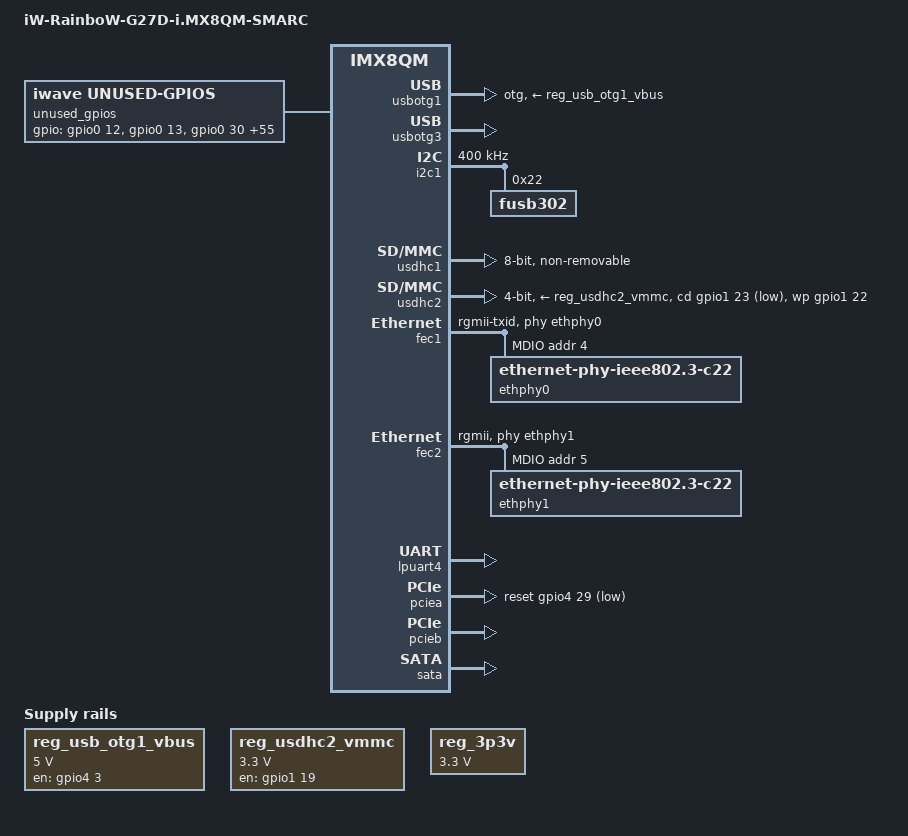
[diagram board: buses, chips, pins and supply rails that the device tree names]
// SPDX-License-Identifier: GPL-2.0+
/*
 * Copyright (C) 2021 iWave System Technologies Pvt Ltd.
 * Copyright 2021 
 *
 * This program is free software; you can redistribute it and/or
 * modify it under the terms of the GNU General Public License
 * as published by the Free Software Foundation; either version 2
 * of the License, or (at your option) any later version.
 *
 * This program is distributed in the hope that it will be useful,
 * but WITHOUT ANY WARRANTY; without even the implied warranty of
 * MERCHANTABILITY or FITNESS FOR A PARTICULAR PURPOSE.  See the
 * GNU General Public License for more details.
 */

/dts-v1/;

#include "fsl-imx8qm.dtsi"

/ {
	model = "iW-RainboW-G27D-i.MX8QM-SMARC";
	compatible = "fsl,imx8qm-iwg27m", "fsl,imx8qm";

	chosen {
		bootargs = "console=ttyLP4,115200 earlycon";
		stdout-path = &lpuart4;
	};

	unused_gpios: unused_gpios { /* GPIO: Setting unused GPIOs as input pins */
		compatible = "iwave,unused-gpios";
		pinctrl-names = "default";
		pinctrl-0 = <&pinctrl_unused_gpio>;
		status= "okay";
	};

	regulators {
		compatible = "simple-bus";
		#address-cells = <1>;
		#size-cells = <0>;

		reg_usb_otg1_vbus: regulator@0 { /* USB: USB OTG 5V VBUS Regulator */
			compatible = "regulator-fixed";
			reg = <0>;
			regulator-name = "VBUS_USBOTG_5V";
			regulator-min-microvolt = <5000000>;
			regulator-max-microvolt = <5000000>;
			gpio = <&gpio4 3 GPIO_ACTIVE_HIGH>;
			enable-active-high;
		};

		reg_usdhc2_vmmc: usdhc2_vmmc { /* USDHC2: 3.3V VDD Regulator Enable */
			compatible = "regulator-fixed";
			regulator-name = "VDD_USDHC2_3P3V";
			regulator-min-microvolt = <3300000>;
			regulator-max-microvolt = <3300000>;
			gpio = <&gpio1 19 GPIO_ACTIVE_HIGH>;
			off-on-delay-us = <4800>;
			enable-active-high;
		};

		reg_3p3v: 3p3v { /* Regulator: Fixed 3.3V Regulator */
			compatible = "regulator-fixed";
			regulator-name = "3P3V";
			regulator-min-microvolt = <3300000>;
			regulator-max-microvolt = <3300000>;
		};
	};
};

&iomuxc {

	imx8qm-iwg27m {

		pinctrl_fec1: fec1grp { /* Ethernet0: IOMUX Pin Configuration */
			fsl,pins = <
				SC_P_COMP_CTL_GPIO_1V8_3V3_ENET_ENETB_PAD		0x000014a0
				SC_P_ENET0_MDC_CONN_ENET0_MDC				0x06000020
				SC_P_ENET0_MDIO_CONN_ENET0_MDIO				0x06000020
				SC_P_ENET0_RGMII_TX_CTL_CONN_ENET0_RGMII_TX_CTL		0x00000061
				SC_P_ENET0_RGMII_TXC_CONN_ENET0_RGMII_TXC		0x00000061
				SC_P_ENET0_RGMII_TXD0_CONN_ENET0_RGMII_TXD0		0x00000061
				SC_P_ENET0_RGMII_TXD1_CONN_ENET0_RGMII_TXD1		0x00000061
				SC_P_ENET0_RGMII_TXD2_CONN_ENET0_RGMII_TXD2		0x00000061
				SC_P_ENET0_RGMII_TXD3_CONN_ENET0_RGMII_TXD3		0x00000061
				SC_P_ENET0_RGMII_RXC_CONN_ENET0_RGMII_RXC		0x00000061
				SC_P_ENET0_RGMII_RX_CTL_CONN_ENET0_RGMII_RX_CTL		0x00000061
				SC_P_ENET0_RGMII_RXD0_CONN_ENET0_RGMII_RXD0		0x00000061
				SC_P_ENET0_RGMII_RXD1_CONN_ENET0_RGMII_RXD1		0x00000061
				SC_P_ENET0_RGMII_RXD2_CONN_ENET0_RGMII_RXD2		0x00000061
				SC_P_ENET0_RGMII_RXD3_CONN_ENET0_RGMII_RXD3		0x00000061
				SC_P_PCIE_CTRL1_WAKE_B_LSIO_GPIO4_IO31			0x00000021 /* Ethernet0 Reset */
				SC_P_PCIE_CTRL1_CLKREQ_B_LSIO_GPIO4_IO30		0x00000021 /* Ethernet0 Wake on LAN */
				SC_P_PCIE_CTRL0_CLKREQ_B_LSIO_GPIO4_IO27		0x00000021 /* Ethernet0 Interrupt */             
			>;
		};

		pinctrl_fec2: fec2grp { /* Ethernet1: IOMUX Pin Configuration */
			fsl,pins = <
				SC_P_COMP_CTL_GPIO_1V8_3V3_ENET_ENETA_PAD		0x000014a0
				SC_P_ENET1_MDC_CONN_ENET1_MDC				0x06000020
				SC_P_ENET1_MDIO_CONN_ENET1_MDIO				0x06000020
				SC_P_ENET1_RGMII_TX_CTL_CONN_ENET1_RGMII_TX_CTL		0x00000060
				SC_P_ENET1_RGMII_TXC_CONN_ENET1_RGMII_TXC		0x00000060
				SC_P_ENET1_RGMII_TXD0_CONN_ENET1_RGMII_TXD0		0x00000060
				SC_P_ENET1_RGMII_TXD1_CONN_ENET1_RGMII_TXD1		0x00000060
				SC_P_ENET1_RGMII_TXD2_CONN_ENET1_RGMII_TXD2		0x00000060
				SC_P_ENET1_RGMII_TXD3_CONN_ENET1_RGMII_TXD3		0x00000060
				SC_P_ENET1_RGMII_RXC_CONN_ENET1_RGMII_RXC		0x00000060
				SC_P_ENET1_RGMII_RX_CTL_CONN_ENET1_RGMII_RX_CTL		0x00000060
				SC_P_ENET1_RGMII_RXD0_CONN_ENET1_RGMII_RXD0		0x00000060
				SC_P_ENET1_RGMII_RXD1_CONN_ENET1_RGMII_RXD1		0x00000060
				SC_P_ENET1_RGMII_RXD2_CONN_ENET1_RGMII_RXD2		0x00000060
				SC_P_ENET1_RGMII_RXD3_CONN_ENET1_RGMII_RXD3		0x00000060
				SC_P_MIPI_DSI1_I2C0_SCL_LSIO_GPIO1_IO20			0x00000021 /* Ethernet1 Reset */
				SC_P_MIPI_DSI0_I2C0_SCL_LSIO_GPIO1_IO16			0x00000021 /* Ethernet1 Wake on LAN */
				SC_P_MIPI_DSI0_I2C0_SDA_LSIO_GPIO1_IO17			0x00000021 /* Ethernet1 Interrupt */
			>;
		};

		pinctrl_flexspi0: flexspi0grp { /* FLEXSPI0: MT35XU512ABA Octa-SPI IOMUX Pin Configuration */
			fsl,pins = <
				SC_P_QSPI0A_DATA0_LSIO_QSPI0A_DATA0			0x06000021
				SC_P_QSPI0A_DATA1_LSIO_QSPI0A_DATA1			0x06000021
				SC_P_QSPI0A_DATA2_LSIO_QSPI0A_DATA2			0x06000021
				SC_P_QSPI0A_DATA3_LSIO_QSPI0A_DATA3			0x06000021
				SC_P_QSPI0A_DQS_LSIO_QSPI0A_DQS				0x06000021
				SC_P_QSPI0A_SS0_B_LSIO_QSPI0A_SS0_B			0x06000021
				SC_P_QSPI0A_SCLK_LSIO_QSPI0A_SCLK			0x06000021
				SC_P_QSPI0B_SCLK_LSIO_QSPI0B_SCLK			0x06000021
				SC_P_QSPI0B_DATA0_LSIO_QSPI0B_DATA0			0x06000021
				SC_P_QSPI0B_DATA1_LSIO_QSPI0B_DATA1			0x06000021
				SC_P_QSPI0B_DATA2_LSIO_QSPI0B_DATA2			0x06000021
				SC_P_QSPI0B_DATA3_LSIO_QSPI0B_DATA3			0x06000021
				SC_P_QSPI0B_SS0_B_LSIO_QSPI0B_SS0_B			0x06000021
			>;
		};

		pinctrl_pciea: pcieagrp{ /* PCIE: IOMUX Pin Configuration */
			fsl,pins = <
				SC_P_SIM0_POWER_EN_LSIO_GPIO0_IO04			0x06000021 /* PCIE W_DISABLE GPIO */
				SC_P_PCIE_CTRL0_WAKE_B_LSIO_GPIO4_IO28			0x06000021 /* PCIE Wake GPIO */
				SC_P_PCIE_CTRL0_PERST_B_LSIO_GPIO4_IO29			0x06000021 /* PCIE Reset GPIO */
			>;
		};

		pinctrl_usbotg1: usbotg1grp { /* USB: USB OTG IOMUX Pin Configuration */
			fsl,pins = <
				SC_P_USB_SS3_TC0_LSIO_GPIO4_IO03			0x06000021 /* USB OTG Power */
			>;
		};

		pinctrl_usbotg3: usbotg3grp { /* USB: USB Hub IOMUX Pin COnfiguration */
			fsl,pins = <
				SC_P_MIPI_DSI1_I2C0_SDA_LSIO_GPIO1_IO21			0x00000021 /* USB Hub Reset */
			>;
		};

		pinctrl_lpi2c1: lpi2c1grp { /* I2C1: IOMUX Pin Configuration */
			fsl,pins = <
				SC_P_GPT0_CLK_DMA_I2C1_SCL				0x06000021
				SC_P_GPT0_CAPTURE_DMA_I2C1_SDA				0x06000021
			>;
		};

		pinctrl_usdhc1: usdhc1grp { /* EMMC: IOMUX Pin Configuration */
			fsl,pins = <
				SC_P_EMMC0_CLK_CONN_EMMC0_CLK				0x06000041
				SC_P_EMMC0_CMD_CONN_EMMC0_CMD				0x00000021
				SC_P_EMMC0_DATA0_CONN_EMMC0_DATA0			0x00000021
				SC_P_EMMC0_DATA1_CONN_EMMC0_DATA1			0x00000021
				SC_P_EMMC0_DATA2_CONN_EMMC0_DATA2			0x00000021
				SC_P_EMMC0_DATA3_CONN_EMMC0_DATA3			0x00000021
				SC_P_EMMC0_DATA4_CONN_EMMC0_DATA4			0x00000021
				SC_P_EMMC0_DATA5_CONN_EMMC0_DATA5			0x00000021
				SC_P_EMMC0_DATA6_CONN_EMMC0_DATA6			0x00000021
				SC_P_EMMC0_DATA7_CONN_EMMC0_DATA7			0x00000021
				SC_P_EMMC0_STROBE_CONN_EMMC0_STROBE			0x00000041
				SC_P_EMMC0_RESET_B_CONN_EMMC0_RESET_B			0x00000021
			>;
		};

		pinctrl_usdhc2_gpio: usdhc2grpgpio { /* USDHC2: IOMUX Pin Configuration */
			fsl,pins = <
				SC_P_MIPI_DSI1_GPIO0_00_LSIO_GPIO1_IO22			0x00000021 /* Standard SD Write Protect */
				SC_P_MIPI_DSI1_GPIO0_01_LSIO_GPIO1_IO23			0x00000021 /* Standard SD Card Detect */
				SC_P_MIPI_DSI0_GPIO0_01_LSIO_GPIO1_IO19			0x00000021 /* Standard SD Power Enable */
			>;
		};

		pinctrl_usdhc2: usdhc2grp {
			fsl,pins = <
				SC_P_USDHC1_CLK_CONN_USDHC1_CLK				0x06000040
				SC_P_USDHC1_CMD_CONN_USDHC1_CMD				0x00000021
				SC_P_USDHC1_DATA0_CONN_USDHC1_DATA0			0x00000021
				SC_P_USDHC1_DATA1_CONN_USDHC1_DATA1			0x00000021
				SC_P_USDHC1_DATA2_CONN_USDHC1_DATA2			0x00000021
				SC_P_USDHC1_DATA3_CONN_USDHC1_DATA3			0x00000021
				SC_P_USDHC1_VSELECT_CONN_USDHC1_VSELECT			0x00000021
			>;
		};

		pinctrl_usdhc3: usdhc3grp { /* USDHC3: IOMUX Pin Configuration */
			fsl,pins = <
				SC_P_USDHC2_CLK_CONN_USDHC2_CLK				0x06000041
				SC_P_USDHC2_CMD_CONN_USDHC2_CMD				0x00000021
				SC_P_USDHC2_DATA0_CONN_USDHC2_DATA0			0x00000021
				SC_P_USDHC2_DATA1_CONN_USDHC2_DATA1			0x00000021
				SC_P_USDHC2_DATA2_CONN_USDHC2_DATA2			0x00000021
				SC_P_USDHC2_DATA3_CONN_USDHC2_DATA3			0x00000021
				SC_P_USDHC2_CD_B_LSIO_GPIO4_IO12			0x00000021 /* Card Detect */
				SC_P_USDHC2_VSELECT_CONN_USDHC2_VSELECT			0x00000021
			>;
		};

		pinctrl_lpuart4: lpuart4grp { /* LPUART4: Debug UART IOMUX Pin Configuration */
			fsl,pins = <
				SC_P_M40_GPIO0_00_DMA_UART4_RX				0x06000020
				SC_P_M40_GPIO0_01_DMA_UART4_TX				0x06000020
			>;
		};
	
		pinctrl_board_cfg: board_cfg { /* SoC Board Settings: IOMUX Pin Configuration */
			fsl,pins= <
				SC_P_LVDS0_GPIO01_LSIO_GPIO1_IO05			0x00000021 /* Board Config 0 */
				SC_P_LVDS1_I2C0_SDA_LSIO_GPIO1_IO13			0x00000021 /* Board Config 1 */
				SC_P_LVDS1_I2C0_SCL_LSIO_GPIO1_IO12			0x00000021 /* Board Config 2 */
				SC_P_LVDS1_GPIO01_LSIO_GPIO1_IO11			0x00000021 /* Board Config 3 */
				SC_P_M40_I2C0_SCL_LSIO_GPIO0_IO06			0x00000021 /* Board Config 4 */
				SC_P_M40_I2C0_SDA_LSIO_GPIO0_IO07			0x00000021 /* Board Config 5 */
				SC_P_M41_I2C0_SDA_LSIO_GPIO0_IO11			0x00000021 /* Board Config 6 */
			>;
		};

		pinctrl_unused_gpio: unused_gpiogrp{ /* GPIO: Unused GPIO IOMUX Pin Configuration */
			fsl,pins = <
				SC_P_M41_GPIO0_00_LSIO_GPIO0_IO12			0x00000021
				SC_P_M41_GPIO0_01_LSIO_GPIO0_IO13			0x00000021
				SC_P_SCU_GPIO0_02_LSIO_GPIO0_IO30			0x00000021
				SC_P_LVDS0_GPIO00_LSIO_GPIO1_IO04			0x00000021
				SC_P_LVDS0_I2C1_SCL_LSIO_GPIO1_IO08			0x00000021
				SC_P_LVDS1_GPIO00_LSIO_GPIO1_IO10			0x00000021
				SC_P_LVDS1_I2C1_SDA_LSIO_GPIO1_IO15			0x00000021
				SC_P_MIPI_CSI1_MCLK_OUT_LSIO_GPIO1_IO29			0x00000021
				SC_P_MIPI_CSI1_I2C0_SCL_LSIO_GPIO2_IO00			0x00000021
				SC_P_MIPI_CSI1_I2C0_SDA_LSIO_GPIO2_IO01			0x00000021
				SC_P_HDMI_TX0_TS_SCL_LSIO_GPIO2_IO02			0x00000021
				SC_P_HDMI_TX0_TS_SDA_LSIO_GPIO2_IO03			0x00000021
				SC_P_ESAI1_FSR_LSIO_GPIO2_IO04				0x00000021
				SC_P_ESAI1_FST_LSIO_GPIO2_IO05				0x00000021
				SC_P_ESAI1_SCKR_LSIO_GPIO2_IO06				0x00000021
				SC_P_ESAI1_SCKT_LSIO_GPIO2_IO07				0x00000021
				SC_P_ESAI1_TX0_LSIO_GPIO2_IO08				0x00000021
				SC_P_ESAI1_TX1_LSIO_GPIO2_IO09				0x00000021
				SC_P_ESAI1_TX2_RX3_LSIO_GPIO2_IO10			0x00000021
				SC_P_ESAI1_TX3_RX2_LSIO_GPIO2_IO11			0x00000021
				SC_P_ESAI1_TX4_RX1_LSIO_GPIO2_IO12			0x00000021
				SC_P_ESAI1_TX5_RX0_LSIO_GPIO2_IO13			0x00000021
				SC_P_SPDIF0_RX_LSIO_GPIO2_IO14				0x00000021
				SC_P_SPDIF0_TX_LSIO_GPIO2_IO15				0x00000021
				SC_P_SPDIF0_EXT_CLK_LSIO_GPIO2_IO16			0x00000021
				SC_P_ESAI0_FSR_LSIO_GPIO2_IO22				0x00000021
				SC_P_ESAI0_SCKR_LSIO_GPIO2_IO24				0x00000021
				SC_P_SPI0_SCK_LSIO_GPIO3_IO02				0x00000021
				SC_P_SPI0_SDO_LSIO_GPIO3_IO03				0x00000021
				SC_P_SPI0_SDI_LSIO_GPIO3_IO04				0x00000021
				SC_P_SPI0_CS1_LSIO_GPIO3_IO06				0x00000021
				SC_P_SPI2_CS1_LSIO_GPIO3_IO11				0x00000021
				SC_P_SAI1_RXFS_LSIO_GPIO3_IO14				0x00000021
				SC_P_ADC_IN4_LSIO_GPIO3_IO22				0x00000021
				SC_P_ADC_IN5_LSIO_GPIO3_IO23				0x00000021
				SC_P_ADC_IN6_LSIO_GPIO3_IO24				0x00000021
				SC_P_ADC_IN7_LSIO_GPIO3_IO25				0x00000021
				SC_P_MLB_SIG_LSIO_GPIO3_IO26				0x00000021
				SC_P_MLB_CLK_LSIO_GPIO3_IO27				0x00000021
				SC_P_MLB_DATA_LSIO_GPIO3_IO28				0x00000021
				SC_P_FLEXCAN2_RX_LSIO_GPIO4_IO01			0x00000021
				SC_P_FLEXCAN2_TX_LSIO_GPIO4_IO02			0x00000021
				SC_P_USB_SS3_TC2_LSIO_GPIO4_IO05			0x00000021
				SC_P_USDHC2_RESET_B_LSIO_GPIO4_IO09			0x00000021
				SC_P_QSPI1A_SS0_B_LSIO_GPIO4_IO19			0x00000021
				SC_P_QSPI1A_SS1_B_LSIO_GPIO4_IO20			0x00000021
				SC_P_QSPI1A_SCLK_LSIO_GPIO4_IO21			0x00000021
				SC_P_QSPI1A_DQS_LSIO_GPIO4_IO22				0x00000021
				SC_P_QSPI1A_DATA3_LSIO_GPIO4_IO23			0x00000021
				SC_P_QSPI1A_DATA2_LSIO_GPIO4_IO24			0x00000021
				SC_P_QSPI1A_DATA1_LSIO_GPIO4_IO25			0x00000021
				SC_P_QSPI1A_DATA0_LSIO_GPIO4_IO26			0x00000021
				SC_P_USB_HSIC0_DATA_LSIO_GPIO5_IO01			0x00000021
				SC_P_USB_HSIC0_STROBE_LSIO_GPIO5_IO02			0x00000021
				SC_P_USDHC1_DATA4_LSIO_GPIO5_IO19			0x00000021
				SC_P_USDHC1_DATA5_LSIO_GPIO5_IO20			0x00000021
				SC_P_USDHC1_DATA6_LSIO_GPIO5_IO21			0x00000021
				SC_P_USDHC1_DATA7_LSIO_GPIO5_IO22			0x00000021
			>;
		};
	};
};

/* General Purpose I/O */
&gpio0 {
	status = "okay";
};

&gpio1 {
	status = "okay";
};

&gpio2 {
	status = "okay";
};

&gpio3 {
	status = "okay";
};

&gpio4 {
	status = "okay";
};

&gpio5 {
	status = "okay";
};

&usbotg1 { /* USBOTG1: USB 2.0 OTG Device */
	vbus-supply = <&reg_usb_otg1_vbus>;
	srp-disable;
	hnp-disable;
	adp-disable;
	disable-over-current;
	dr_mode = "otg";
	pinctrl-names = "default";
	pinctrl-0 = <&pinctrl_usbotg1>;
	status = "okay";
};

&usbotg3 { /* USB2: USB Host */
	pinctrl-names = "default";
	pinctrl-0 = <&pinctrl_usbotg3>;
	status = "okay";
};

&i2c1 { /* I2C1: LPI2C1 */
        #address-cells = <1>;
        #size-cells = <0>;
        pinctrl-names = "default";
        pinctrl-0 = <&pinctrl_lpi2c1>;
        clock-frequency = <400000>;
        status = "okay";

        fusb302@22 { /* FUSB302: USB Type-C */
                reg = <0x22>;
                status = "okay";
        };
};

&usdhc1 { /* USDHC1: EMMC */
	pinctrl-names = "default", "state_100mhz", "state_200mhz";
	pinctrl-0 = <&pinctrl_usdhc1>;
	pinctrl-1 = <&pinctrl_usdhc1>;
	pinctrl-2 = <&pinctrl_usdhc1>;
	bus-width = <8>;
	non-removable;
	status = "okay";
};

&usdhc2 { /* USDHC2: Standard SD */
	pinctrl-names = "default", "state_100mhz", "state_200mhz";
	pinctrl-0 = <&pinctrl_usdhc2>, <&pinctrl_usdhc2_gpio>;
	pinctrl-1 = <&pinctrl_usdhc2>, <&pinctrl_usdhc2_gpio>;
	pinctrl-2 = <&pinctrl_usdhc2>, <&pinctrl_usdhc2_gpio>;
	bus-width = <4>;
	no-1-8-v; /*USDHC2: This property will impact only R3.0 revision SOMs */
	cd-gpios = <&gpio1 23 GPIO_ACTIVE_LOW>;
	wp-gpios = <&gpio1 22 GPIO_ACTIVE_HIGH>;
	vmmc-supply = <&reg_usdhc2_vmmc>;
	status = "okay";
};

&usdhc3 { /* USDHC3: Micro SD(Optional) */
	pinctrl-names = "default", "state_100mhz", "state_200mhz";
	pinctrl-0 = <&pinctrl_usdhc3>;
	pinctrl-1 = <&pinctrl_usdhc3>;
	pinctrl-2 = <&pinctrl_usdhc3>;
	bus-width = <4>;
	cd-gpios = <&gpio4 12 GPIO_ACTIVE_LOW>;
	vmmc-supply = <&reg_3p3v>;
	status = "disabled";
};

&fec1 { /* FEC1: AR8031 PHY ENET 0 */
	pinctrl-names = "default";
	pinctrl-0 = <&pinctrl_fec1>;
	phy-mode = "rgmii-txid";
	phy-handle = <&ethphy0>;
	fsl,magic-packet;
	fsl,rgmii_rxc_dly;
	status = "okay";

	mdio {
		#address-cells = <1>;
		#size-cells = <0>;

		ethphy0: ethernet-phy@0 {
			compatible = "ethernet-phy-ieee802.3-c22";
			reg = <4>;
			at803x,eee-disabled;
			at803x,vddio-1p8v;
		};
	};
};

&fec2 { /* FEC2: AR8031 PHY ENET 1 */
	pinctrl-names = "default";
	pinctrl-0 = <&pinctrl_fec2>;
	phy-mode = "rgmii";
	phy-handle = <&ethphy1>;
	fsl,ar8031-phy-fixup;
	fsl,magic-packet;
	status = "okay";

	mdio {
		#address-cells = <1>;
		#size-cells = <0>;

		ethphy1: ethernet-phy@1 {
			compatible = "ethernet-phy-ieee802.3-c22";
			reg = <5>;
			at803x,eee-disabled;
			at803x,vddio-1p8v;
		};
	};
};

&flexspi0 { /* FLEXSPI0: MT35XU512ABA Octa-SPI */
	pinctrl-names = "default";
	pinctrl-0 = <&pinctrl_flexspi0>;
	status = "disabled";

	flash0: mt35xu512aba@0 {
		reg = <0>;
		#address-cells = <1>;
		#size-cells = <1>;
		compatible = "spi-flash";
		spi-max-frequency = <29000000>;
		spi-nor,ddr-quad-read-dummy = <8>;
	};
};

&lpuart4 { /* LPUART4: Debug console */
	pinctrl-names = "default";
	power-domains = <&pd_dma_lpuart4>;
	pinctrl-0 = <&pinctrl_lpuart4>;
	status = "okay";
};

&pciea{ /* PCIE: PCIEA SATA */
	ext_osc = <1>;
	pinctrl-names = "default";
	pinctrl-0 = <&pinctrl_pciea>;
	reset-gpio = <&gpio4 29 GPIO_ACTIVE_LOW>;
	epdev_on = <&reg_3p3v>;
	status = "okay";
};

&pcieb{ /* PCIE:  PCIEB SATA */
	ext_osc = <1>;
	status = "okay";
};

&sata {
	status = "okay";
};

&tsens {
	tsens-num = <6>;
};

&thermal_zones {
	pmic-thermal0 {
		polling-delay-passive = <250>;
		polling-delay = <2000>;
		thermal-sensors = <&tsens 5>;
		trips {
			pmic_alert0: trip0 {
				temperature = <110000>;
				hysteresis = <2000>;
				type = "passive";
			};
			pmic_crit0: trip1 {
				temperature = <125000>;
				hysteresis = <2000>;
				type = "critical";
			};
		};
		cooling-maps {
			map0 {
				trip = <&pmic_alert0>;
				cooling-device =
				<&A53_0 THERMAL_NO_LIMIT THERMAL_NO_LIMIT>;
			};
			map1 {
				trip = <&pmic_alert0>;
				cooling-device =
				<&A72_0 THERMAL_NO_LIMIT THERMAL_NO_LIMIT>;
			};
		};
	};
};

&unused_gpios { /* GPIO: iWave Unused GPIO pins */
	gpios = <&gpio0 12 0>,
		<&gpio0 13 0>,
		<&gpio0 30 0>,
		<&gpio1 4 0>,
		<&gpio1 8 0>,
		<&gpio1 10 0>,
		<&gpio1 15 0>,
		<&gpio1 29 0>,
		<&gpio2 0 0>,
		<&gpio2 1 0>,
		<&gpio2 2 0>,
		<&gpio2 3 0>,
		<&gpio2 4 0>,
		<&gpio2 5 0>,
		<&gpio2 6 0>,
		<&gpio2 7 0>,
		<&gpio2 8 0>,
		<&gpio2 9 0>,
		<&gpio2 10 0>,
		<&gpio2 11 0>,
		<&gpio2 12 0>,
		<&gpio2 13 0>,
		<&gpio2 14 0>,
		<&gpio2 15 0>,
		<&gpio2 16 0>,
		<&gpio2 22 0>,
		<&gpio2 24 0>,
		<&gpio3 2 0>,
		<&gpio3 3 0>,
		<&gpio3 4 0>,
		<&gpio3 6 0>,
		<&gpio3 11 0>,
		<&gpio3 14 0>,
		<&gpio3 22 0>,
		<&gpio3 23 0>,
		<&gpio3 24 0>,
		<&gpio3 25 0>,
		<&gpio3 26 0>,
		<&gpio3 27 0>,
		<&gpio3 28 0>,
		<&gpio4 1 0>,
		<&gpio4 2 0>,
		<&gpio4 5 0>,
		<&gpio4 9 0>,
		<&gpio4 19 0>,
		<&gpio4 20 0>,
		<&gpio4 21 0>,
		<&gpio4 22 0>,
		<&gpio4 23 0>,
		<&gpio4 24 0>,
		<&gpio4 25 0>,
		<&gpio4 26 0>,
		<&gpio5 1 0>,
		<&gpio5 2 0>,
		<&gpio5 19 0>,
		<&gpio5 20 0>,
		<&gpio5 21 0>,
		<&gpio5 22 0>;
};
